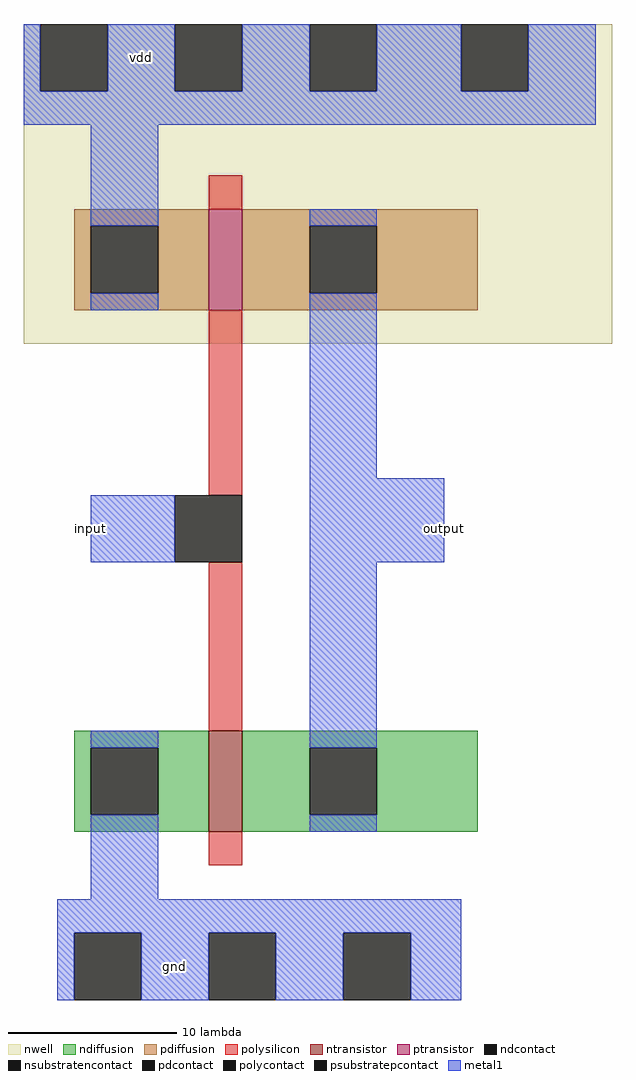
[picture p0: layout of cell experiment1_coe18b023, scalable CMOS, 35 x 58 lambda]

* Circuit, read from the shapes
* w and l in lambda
.subckt experiment1_coe18b023 gnd input output vdd
M1 output input gnd gnd nfet w=6 l=2
M2 output input vdd vdd pfet w=6 l=2
.ends

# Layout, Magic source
magic
tech scmos
<< nwell >>
rect -3 15 32 34
<< polysilicon >>
rect 8 23 10 25
rect 8 6 10 17
rect 8 -8 10 2
rect 8 -16 10 -14
<< ndiffusion >>
rect 0 -9 8 -8
rect 0 -13 1 -9
rect 5 -13 8 -9
rect 0 -14 8 -13
rect 10 -9 24 -8
rect 10 -13 14 -9
rect 18 -13 24 -9
rect 10 -14 24 -13
<< pdiffusion >>
rect 0 22 8 23
rect 0 18 1 22
rect 5 18 8 22
rect 0 17 8 18
rect 10 22 24 23
rect 10 18 14 22
rect 18 18 24 22
rect 10 17 24 18
<< metal1 >>
rect -3 30 -2 34
rect 2 30 6 34
rect 10 30 14 34
rect 18 30 23 34
rect 27 30 31 34
rect -3 28 31 30
rect 1 22 5 28
rect 1 17 5 18
rect 14 22 18 23
rect 14 7 18 18
rect 1 2 6 6
rect 14 2 22 7
rect 1 -9 5 -8
rect 1 -18 5 -13
rect 14 -9 18 2
rect 14 -14 18 -13
rect -1 -20 23 -18
rect -1 -24 0 -20
rect 4 -24 8 -20
rect 12 -24 16 -20
rect 20 -24 23 -20
<< ntransistor >>
rect 8 -14 10 -8
<< ptransistor >>
rect 8 17 10 23
<< polycontact >>
rect 6 2 10 6
<< ndcontact >>
rect 1 -13 5 -9
rect 14 -13 18 -9
<< pdcontact >>
rect 1 18 5 22
rect 14 18 18 22
<< psubstratepcontact >>
rect 0 -24 4 -20
rect 8 -24 12 -20
rect 16 -24 20 -20
<< nsubstratencontact >>
rect -2 30 2 34
rect 6 30 10 34
rect 14 30 18 34
rect 23 30 27 34
<< labels >>
rlabel metal1 1 4 1 4 3 input
rlabel metal1 22 4 22 4 1 output
rlabel metal1 4 32 4 32 5 vdd
rlabel metal1 6 -22 6 -22 1 gnd
<< end >>
